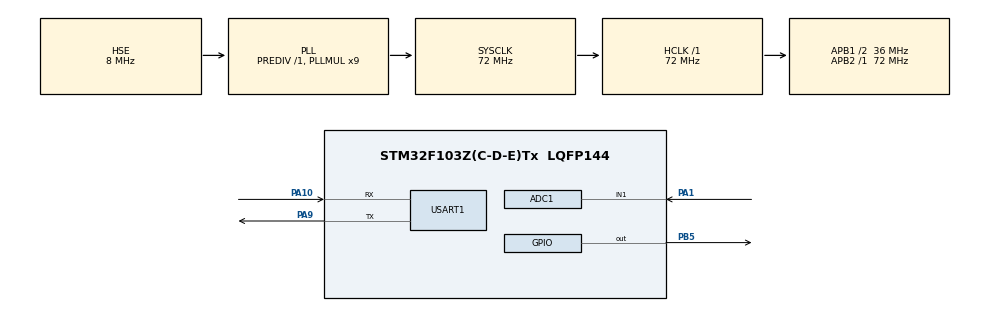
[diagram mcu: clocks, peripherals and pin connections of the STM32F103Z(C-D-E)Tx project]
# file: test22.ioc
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ADC1.Channel-0\#ChannelRegularConversion=ADC_CHANNEL_1
ADC1.NbrOfConversionFlag=1
ADC1.Rank-0\#ChannelRegularConversion=1
ADC1.SamplingTime-0\#ChannelRegularConversion=ADC_SAMPLETIME_239CYCLES_5
ADC1.master=1
Mcu.Family=STM32F1
Mcu.Name=STM32F103Z(C-D-E)Tx
Mcu.Package=LQFP144
NVIC.PriorityGroup=NVIC_PRIORITYGROUP_4
OSC_IN.Mode=HSE-External-Oscillator
OSC_IN.Signal=RCC_OSC_IN
OSC_OUT.Mode=HSE-External-Oscillator
OSC_OUT.Signal=RCC_OSC_OUT
PA1.Signal=ADCx_IN1
PA10.Mode=Asynchronous
PA10.Signal=USART1_RX
PA13.Mode=Serial_Wire
PA13.Signal=SYS_JTMS-SWDIO
PA14.Mode=Serial_Wire
PA14.Signal=SYS_JTCK-SWCLK
PA9.Mode=Asynchronous
PA9.Signal=USART1_TX
PB5.GPIO_PuPd=GPIO_PULLUP
PB5.GPIO_Speed=GPIO_SPEED_FREQ_HIGH
PB5.PinState=GPIO_PIN_SET
PB5.Signal=GPIO_Output
ProjectManager.HeapSize=0x200
ProjectManager.StackSize=0x400
ProjectManager.TargetToolchain=MDK-ARM V5.32
RCC.ADCPresc=RCC_ADCPCLK2_DIV6
RCC.AHBFreq_Value=72000000
RCC.APB1CLKDivider=RCC_HCLK_DIV2
RCC.APB1Freq_Value=36000000
RCC.APB1TimFreq_Value=72000000
RCC.APB2Freq_Value=72000000
RCC.APB2TimFreq_Value=72000000
RCC.HCLKFreq_Value=72000000
RCC.PLLMUL=RCC_PLL_MUL9
RCC.PLLSourceVirtual=RCC_PLLSOURCE_HSE
RCC.SYSCLKFreq_VALUE=72000000
RCC.SYSCLKSource=RCC_SYSCLKSOURCE_PLLCLK
RCC.USBFreq_Value=72000000
SH.ADCx_IN1.0=ADC1_IN1,IN1
USART1.VirtualMode=VM_ASYNC
board=custom

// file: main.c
/* USER CODE BEGIN Header */
/**
 ******************************************************************************
 * @file           : main.c
 * @brief          : Main program body
 ******************************************************************************
 * @attention
 *
 * Copyright (c) 2023 STMicroelectronics.
 * All rights reserved.
 *
 * This software is licensed under terms that can be found in the LICENSE file
 * in the root directory of this software component.
 * If no LICENSE file comes with this software, it is provided AS-IS.
 *
 ******************************************************************************
 */
/* USER CODE END Header */
#include "main.h"
#include "adc.h"
#include "usart.h"
#include "gpio.h"

/* USER CODE BEGIN Includes */
#include <stdio.h>
#include <string.h>
/* USER CODE END Includes */

void SystemClock_Config(void);

/* USER CODE BEGIN 0 */
uint16_t getADCValue(void)
{
  uint16_t adcValue = 0;
  HAL_ADCEx_Calibration_Start(&hadc1);
  HAL_ADC_Start(&hadc1);
  HAL_ADC_PollForConversion(&hadc1, 100);
  adcValue = HAL_ADC_GetValue(&hadc1);
  return adcValue;
}

uint16_t ADC_proc(uint8_t times)
{
  uint32_t temp_val = 0;
  for (uint8_t t = 0; t < times; t++)
  {
    temp_val += getADCValue();
    HAL_Delay(5);
  }
  return temp_val / times;
}
/* USER CODE END 0 */

int main(void)
{

  /* MCU Configuration--------------------------------------------------------*/

  /* Reset of all peripherals, Initializes the Flash interface and the Systick. */
  HAL_Init();

  /* Configure the system clock */
  SystemClock_Config();

  /* Initialize all configured peripherals */
  MX_GPIO_Init();
  MX_ADC1_Init();
  MX_USART1_UART_Init();

  /* Infinite loop */
  while (1)
  {

    /* USER CODE BEGIN 3 */

    char temp[20]; // 存放发送数据的数组
    sprintf(temp, "voltage=%.2fV\r\n", ADC_proc(20)*(3.3/4096)); // 将字符串，变量frq1的数据 放入temp变量中
    // 使用串口 uart1 发送数组temp
    HAL_UART_Transmit(&huart1, (uint8_t *)temp, strlen(temp), 50);
    HAL_GPIO_TogglePin(GPIOB, GPIO_PIN_5); // 翻转LED灯
    HAL_Delay(1000); // 延时1s
  }
  /* USER CODE END 3 */
}

void SystemClock_Config(void)
{
  RCC_OscInitTypeDef RCC_OscInitStruct = {0};
  RCC_ClkInitTypeDef RCC_ClkInitStruct = {0};
  RCC_PeriphCLKInitTypeDef PeriphClkInit = {0};

  /** Initializes the RCC Oscillators according to the specified parameters
   * in the RCC_OscInitTypeDef structure.
   */
  RCC_OscInitStruct.OscillatorType = RCC_OSCILLATORTYPE_HSE;
  RCC_OscInitStruct.HSEState = RCC_HSE_ON;
  RCC_OscInitStruct.HSEPredivValue = RCC_HSE_PREDIV_DIV1;
  RCC_OscInitStruct.HSIState = RCC_HSI_ON;
  RCC_OscInitStruct.PLL.PLLState = RCC_PLL_ON;
  RCC_OscInitStruct.PLL.PLLSource = RCC_PLLSOURCE_HSE;
  RCC_OscInitStruct.PLL.PLLMUL = RCC_PLL_MUL9;
  if (HAL_RCC_OscConfig(&RCC_OscInitStruct) != HAL_OK)
  {
    Error_Handler();
  }

  /** Initializes the CPU, AHB and APB buses clocks
   */
  RCC_ClkInitStruct.ClockType = RCC_CLOCKTYPE_HCLK | RCC_CLOCKTYPE_SYSCLK | RCC_CLOCKTYPE_PCLK1 | RCC_CLOCKTYPE_PCLK2;
  RCC_ClkInitStruct.SYSCLKSource = RCC_SYSCLKSOURCE_PLLCLK;
  RCC_ClkInitStruct.AHBCLKDivider = RCC_SYSCLK_DIV1;
  RCC_ClkInitStruct.APB1CLKDivider = RCC_HCLK_DIV2;
  RCC_ClkInitStruct.APB2CLKDivider = RCC_HCLK_DIV1;

  if (HAL_RCC_ClockConfig(&RCC_ClkInitStruct, FLASH_LATENCY_2) != HAL_OK)
  {
    Error_Handler();
  }
  PeriphClkInit.PeriphClockSelection = RCC_PERIPHCLK_ADC;
  PeriphClkInit.AdcClockSelection = RCC_ADCPCLK2_DIV6;
  if (HAL_RCCEx_PeriphCLKConfig(&PeriphClkInit) != HAL_OK)
  {
    Error_Handler();
  }
}

void Error_Handler(void)
{
  __disable_irq();
  while (1)
  {
  }
}
